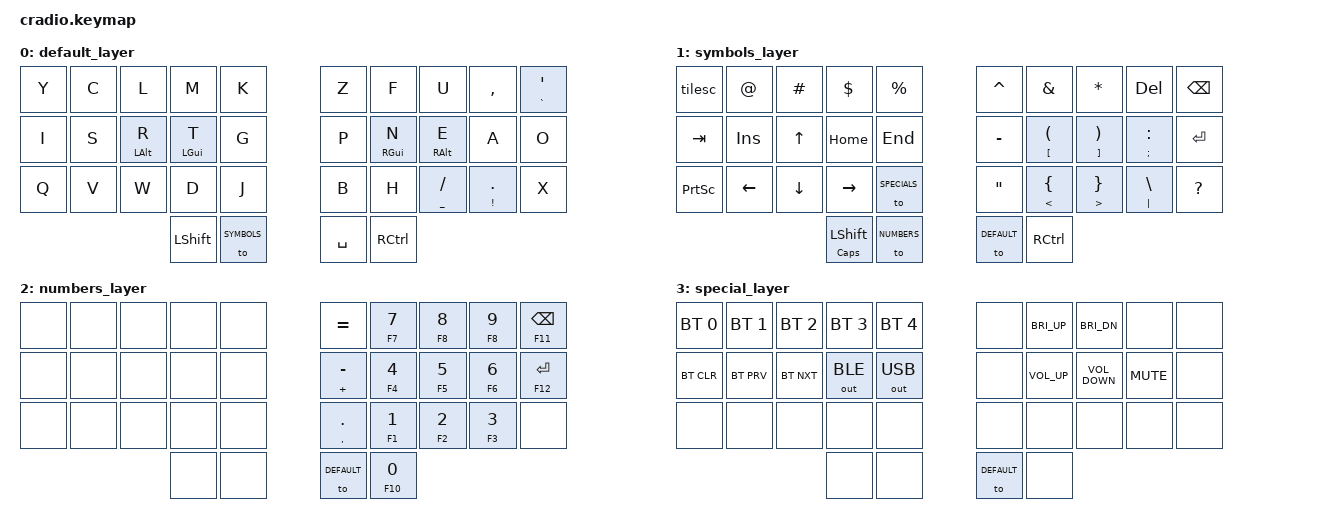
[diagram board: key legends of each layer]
/*
 * Copyright (c) 2020 The ZMK Contributors
 *
 * SPDX-License-Identifier: MIT
 */

// ZMK defines
#include <behaviors.dtsi>
#include <dt-bindings/zmk/keys.h>
#include <dt-bindings/zmk/bt.h>
#include <dt-bindings/zmk/outputs.h>

// Layer defines
#define DEFAULT 0
#define SYMBOLS 1
#define NUMBERS 2
#define SPECIALS 3


/ { 


    behaviors {
        hm: homerow_mods {
            compatible = "zmk,behavior-hold-tap";
            label = "HOMEROW_MODS";
            #binding-cells = <2>;
            tapping-term-ms = <400>;
            quick_tap_ms = <0>;
            flavor = "tap-preferred";
            bindings = <&kp>, <&kp>;
        };

	    td: tapdance {
            compatible = "zmk,behavior-hold-tap";
            label = "TAPDANCE";
            #binding-cells = <2>;
            tapping-term-ms = <300>;
            quick_tap_ms = <0>;
            flavor = "tap-preferred";
            bindings = <&kp>, <&kp>;
        };

        tilesc: tilde_escape {
            compatible = "zmk,behavior-mod-morph";
            label = "TILDE_ESC";
            #binding-cells = <0>;
            bindings = <&kp ESC>, <&kp GRAVE>;
            mods = <(MOD_LSFT|MOD_RSFT)>;
        };
    };

    
    keymap {
        compatible = "zmk,keymap";
                
        default_layer {
            bindings = <
            &kp Y       &kp C       &kp L       &kp M           &kp K                               &kp Z           &kp F           &kp U           &kp COMMA       &td GRAVE APOSTROPHE 
            &kp I       &kp S       &hm LALT R  &hm LGUI T      &kp G 			       	            &kp P           &hm RGUI N      &hm RALT E      &kp A           &kp O
            &kp Q       &kp V       &kp W       &kp D           &kp J				                &kp B           &kp H           &td UNDER FSLH  &td EXCL DOT    &kp X
                                                &kp LSHFT       &to SYMBOLS                         &kp SPACE       &kp RCTRL
            >;
        };

        symbols_layer {
            bindings = <
            &tilesc     &kp AT_SIGN &kp HASH    &kp DOLLAR      &kp PERCENT                         &kp CARET       &kp AMPERSAND   &kp ASTERISK    &kp DEL         &kp BACKSPACE   
            &kp TAB     &kp INSERT  &kp UP      &kp HOME        &kp END                             &kp MINUS       &td LBKT LPAR   &td RBKT RPAR   &td SEMI COLON  &kp ENTER 
            &kp PSCRN   &kp LEFT    &kp DOWN    &kp RIGHT       &to SPECIALS                        &kp DQT         &td LT LBRC     &td GT RBRC     &td PIPE BSLH   &kp QUESTION 
                                                &td CAPS LSHIFT &to NUMBERS                         &to DEFAULT     &kp RCTRL
            >;
        };
	
        numbers_layer {
            bindings = <
            &none   &none   &none   &none   &none                                                   &kp EQUAL       &td F7 N7       &td F8 N8       &td F8 N9       &td F11 BACKSPACE   
            &none   &none   &none   &none   &none                                                   &td PLUS MINUS  &td F4 N4       &td F5 N5       &td F6 N6       &td F12 ENTER 
            &none   &none   &none   &none   &none                                                   &td COMMA DOT   &td F1 N1       &td F2 N2       &td F3 N3       &none
                                    &none   &none                                                   &to DEFAULT     &td F10 N0
            >;
        };

        special_layer {
            bindings = <
            &bt BT_SEL 0 &bt BT_SEL 1 &bt BT_SEL 2  &bt BT_SEL 3  &bt BT_SEL 4                      &none           &kp C_BRI_UP   &kp C_BRI_DN      &none          &none   
            &bt BT_CLR   &bt BT_PRV   &bt BT_NXT    &out OUT_BLE  &out OUT_USB                      &none           &kp C_VOL_UP   &kp C_VOLUME_DOWN &kp C_MUTE     &none 
            &none        &none        &none         &none         &none                             &none           &none          &none             &none          &none
                                                    &none         &none                             &to DEFAULT     &none
            >;
        };
        
	};
}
